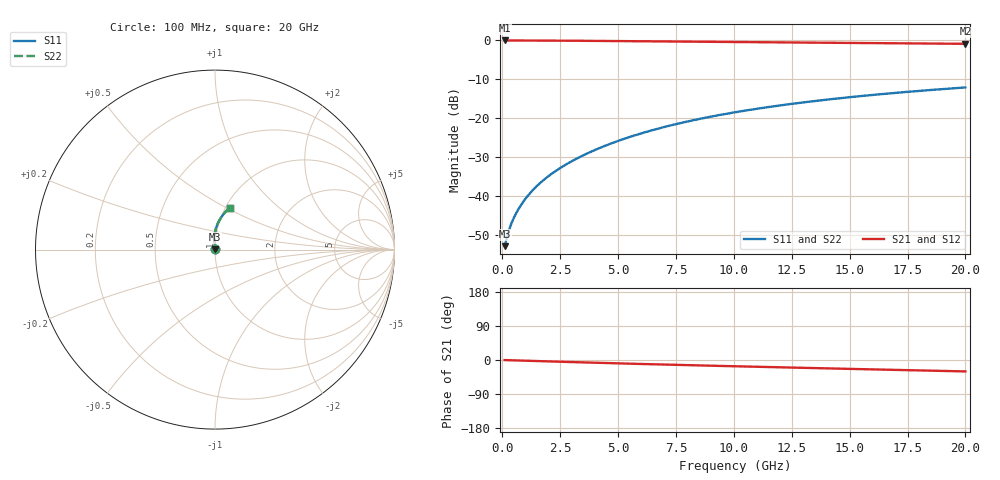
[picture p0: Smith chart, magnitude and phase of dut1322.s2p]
! Touchstone file exported from HFSS 2024.1.0
!  File:  C:/UserFiles/LocalFiles/RDL_TSV_Batchsim/temp_RDL_bottom_1322_1780369017.aedt
!  Generated:  10:59:27 AM Jun  2, 2026
!  Design:  RDL_bottom
!  Project:  temp_RDL_bottom_1322_1780369017
!  Setup:  Setup1
!  Solution:  Sweep
! Variables:
!  dtsv = 10.80580581um
!  hbump = 3um
!  htsv = 54.49um
!  ldown = 446.46um
!  lrdl = 100um
!  p = 40
!  p1 = 49.67um
!  rhole = 1um
!  t = 450um
!  tdown = 3.22um
!  trdl = 3.915915916um
!  wdown = 28.94um
!  wrdl = 20um
# GHz S MA R 50.000000
! Terminal data exported
! Port[1] = RDL1_T1
! Port[2] = RDL1_T2
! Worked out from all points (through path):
!   200 points, 100 MHz to 20 GHz, reference 50 ohm
!   highest |S21| = -0.02 dB at 100 MHz (marker M1); lowest = -0.9 dB at 20 GHz (marker M2)
!   group delay of S21, straight-line fit = 4.11 ps
!   lowest |S11| = -53.0 dB at 100 MHz (marker M3), VSWR 1.00, Z = 50.2 + j0.107 ohm
!   |S11| at or under -10 dB: start of sweep to end of sweep
!   |S22| runs from -53.0 to -12.1 dB; largest |S21 - S12| = 3.2e-15
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0.1  0.00225 28.4  0.998 -0.2  0.998 -0.2  0.00225 28.4
! Gamma 0 0 0 0
! Port Impedance 50 0 50 0
0.2  0.002944 44.3  0.9978 -0.4  0.9978 -0.4  0.002944 44.3
0.3  0.003704 53.1  0.9977 -0.6  0.9977 -0.6  0.003704 53.1
0.4  0.004462 58.9  0.9975 -0.8  0.9975 -0.8  0.004462 58.9
0.5  0.005218 63.2  0.9973 -1.0  0.9973 -1.0  0.005218 63.2
0.6  0.005981 66.8  0.9971 -1.1  0.9971 -1.1  0.005981 66.8
0.8  0.007544 72.1  0.9968 -1.5  0.9968 -1.5  0.007544 72.2
1.2  0.01083 79.1  0.9961 -2.2  0.9961 -2.2  0.01083 79.1
1.7  0.01521 84.3  0.9948 -3.2  0.9948 -3.2  0.01521 84.3
2.2  0.01986 87.6  0.9933 -4.1  0.9933 -4.1  0.01986 87.6
2.8  0.02581 90.2  0.991 -5.1  0.991 -5.1  0.02581 90.2
3.5  0.03325 92.0  0.9879 -6.4  0.9879 -6.4  0.03326 92.0
4.2  0.04121 93.0  0.9844 -7.6  0.9844 -7.6  0.04122 93.0
5  0.05086 93.3  0.9801 -8.9  0.9801 -8.9  0.05087 93.3
5.9  0.0623 93.0  0.9751 -10.3  0.9751 -10.3  0.06231 93.0
6.8  0.07419 92.2  0.97 -11.7  0.97 -11.7  0.07421 92.3
8.4  0.096 90.1  0.961 -14.2  0.961 -14.2  0.09603 90.1
10.1  0.1195 87.3  0.9519 -16.6  0.9519 -16.6  0.1196 87.4
11.7  0.1416 84.5  0.9436 -18.9  0.9436 -18.9  0.1416 84.6
13.4  0.1646 81.5  0.9351 -21.3  0.9351 -21.3  0.1647 81.5
16.7  0.2077 75.8  0.9192 -25.7  0.9192 -25.7  0.2078 75.8
20  0.248 70.4  0.9036 -30.1  0.9036 -30.1  0.2481 70.4
